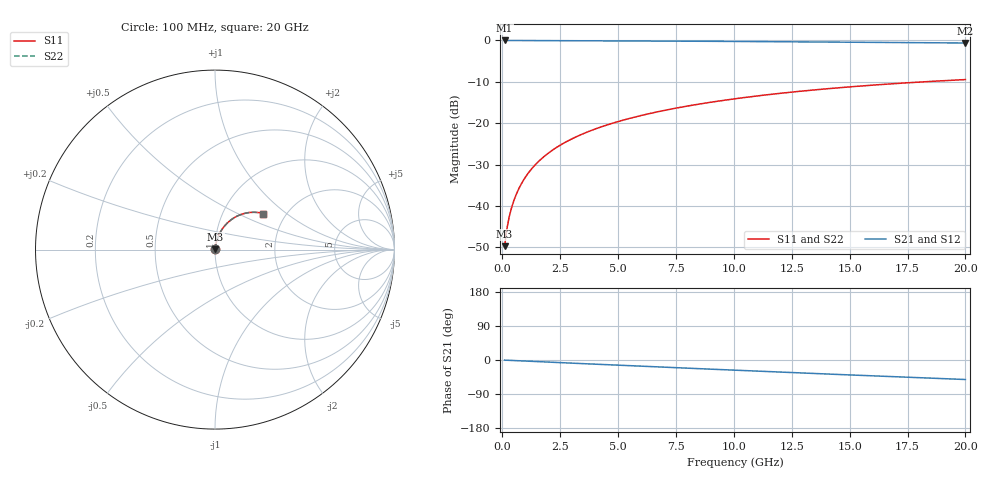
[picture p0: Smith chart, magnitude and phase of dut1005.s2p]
! Touchstone file exported from HFSS 2026.1.0
!  File:  C:/ffzhzh/LocalFiles/Ansys_Project_Files/temp_train_TMRDL_1005_1783159608_51560.aedt
!  Generated:  06:08:12 PM Jul  4, 2026
!  Design:  TMRDL
!  Project:  temp_train_TMRDL_1005_1783159608_51560
! Variables:
!  h_bsmrdl = 2um
!  h_ox = 20um
!  h_rdl = 5um
!  h_sub = 80um
!  h_tmrdl = 5.76um
!  h_tsv = 80um
!  h_via = 3um
!  l_bsmrdl = 300um
!  l_sub = 1242.01um
!  l_tmrdl = 842.01um
!  m_sub = 200um
!  pitch = 48.93um
!  r_tsv = 6um
!  s_tmrdl = 10um
!  w_bsmrdl = 18um
!  w_sub = 500um
!  w_tmrdl = 27.65um
!  x_tsv_center1 = 855.835um
!  x_tsv_center2 = 1173.835um
!  x_tsv_center3 = 2043.495um
!  x_tsv_center4 = 2361.495um
!  x_tsv_center5 = 3231.155um
!  x_tsv_center6 = 3549.155um
# GHz S MA R 50.000000
! Terminal data exported
! Port[1] = TM_RDL1_1_T1
! Port[2] = TM_RDL1_1_T2
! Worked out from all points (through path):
!   200 points, 100 MHz to 20 GHz, reference 50 ohm
!   highest |S21| = -0.02 dB at 100 MHz (marker M1); lowest = -0.6 dB at 20 GHz (marker M2)
!   group delay of S21, straight-line fit = 7.14 ps
!   lowest |S11| = -49.7 dB at 100 MHz (marker M3), VSWR 1.01, Z = 50.2 + j0.249 ohm
!   |S11| at or under -10 dB: start of sweep to 18.21 GHz
!   |S22| runs from -49.7 to -9.5 dB; largest |S21 - S12| = 2.8e-14
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0.1  0.003275 49.3  0.9979 -0.3  0.9979 -0.3  0.003275 49.3
! Gamma 0 0 0 0
! Port Impedance 50 0 50 0
0.2  0.005341 63.4  0.9976 -0.6  0.9976 -0.6  0.005341 63.4
0.3  0.007429 69.4  0.9975 -0.9  0.9975 -0.9  0.007429 69.4
0.4  0.009524 72.8  0.9974 -1.1  0.9974 -1.1  0.009524 72.8
0.5  0.01164 75.1  0.9973 -1.4  0.9973 -1.4  0.01164 75.1
0.6  0.01376 76.6  0.9972 -1.7  0.9972 -1.7  0.01376 76.6
0.7  0.0159 77.7  0.9971 -2.0  0.9971 -2.0  0.0159 77.7
0.9  0.0202 79.0  0.9969 -2.5  0.9969 -2.5  0.0202 79.0
1.1  0.02451 79.6  0.9966 -3.1  0.9966 -3.1  0.02451 79.6
1.5  0.03311 79.8  0.9961 -4.2  0.9961 -4.2  0.03311 79.8
1.8  0.03952 79.6  0.9955 -5.0  0.9955 -5.0  0.03952 79.6
2.1  0.04587 79.2  0.995 -5.8  0.995 -5.8  0.04587 79.2
2.7  0.05842 78.0  0.9937 -7.5  0.9937 -7.5  0.05842 78.0
3.5  0.07481 76.2  0.9918 -9.6  0.9918 -9.6  0.07481 76.2
4.2  0.08887 74.6  0.99 -11.5  0.99 -11.5  0.08887 74.6
5  0.1046 72.7  0.9878 -13.7  0.9878 -13.7  0.1046 72.7
6.8  0.139 68.3  0.9824 -18.4  0.9824 -18.4  0.139 68.3
8.3  0.1666 64.7  0.9773 -22.4  0.9773 -22.4  0.1666 64.7
10.1  0.1982 60.3  0.9707 -27.0  0.9707 -27.0  0.1982 60.3
13.4  0.2512 52.3  0.9574 -35.4  0.9574 -35.4  0.2512 52.2
16.7  0.2975 44.4  0.9435 -43.6  0.9435 -43.6  0.2974 44.3
20  0.3364 36.7  0.93 -51.5  0.93 -51.5  0.3364 36.6
